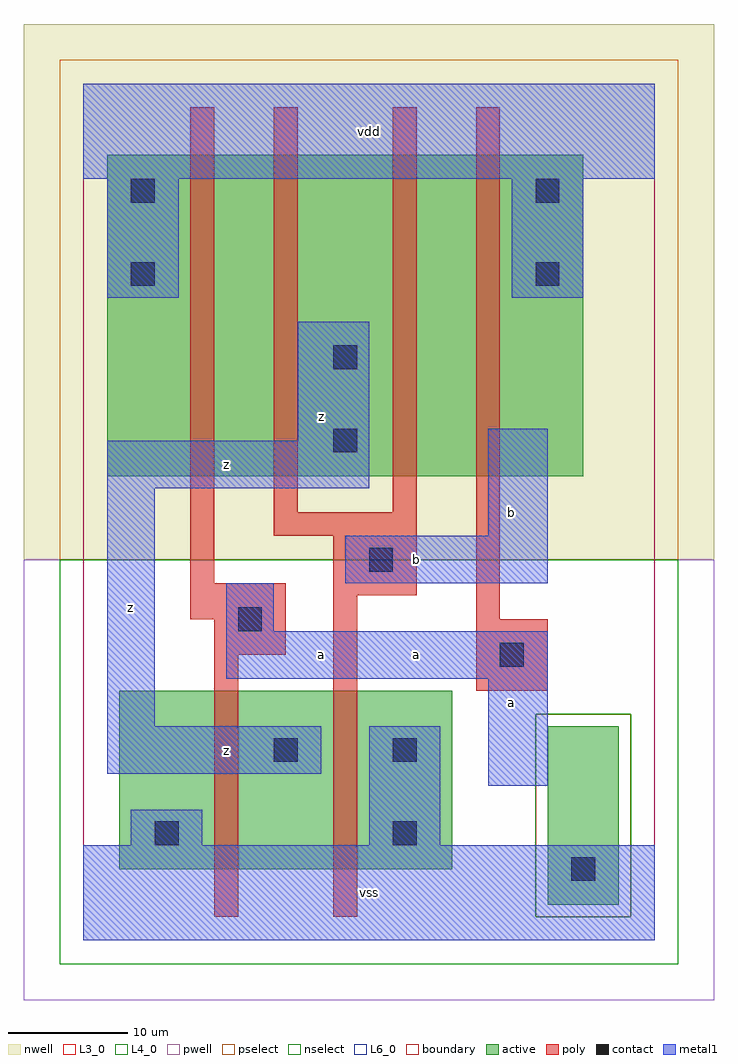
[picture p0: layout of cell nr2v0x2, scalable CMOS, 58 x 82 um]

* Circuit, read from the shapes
.subckt nr2v0x2 a b vdd vss z
M1 z a vss vss nfet w=15u l=2u
M2 vss b z vss nfet w=15u l=2u
M3 n1 a vdd n2 pfet w=27u l=2u
M4 z b n1 n2 pfet w=27u l=2u
M5 n3 b z n2 pfet w=27u l=2u
M6 vdd a n3 n2 pfet w=27u l=2u
.ends

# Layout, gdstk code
import gdstk
lib = gdstk.Library(unit=1e-6, precision=1e-09)
def R(c, l, rs):  # rectangles x0, y0, x1, y1
    for r in rs: c.add(gdstk.rectangle(r[:2], r[2:], *l))
L3_0 = (3, 0)
L4_0 = (4, 0)
L6_0 = (6, 0)
contact = (25, 0)
pwell = (41, 0)
nwell = (42, 0)
active = (43, 0)
pselect = (44, 0)
nselect = (45, 0)
poly = (46, 0)
metal1 = (49, 0)
boundary = (63, 0)

nr2v0x2 = lib.new_cell('nr2v0x2')
R(nr2v0x2, L3_0, [(3,6,31,21)])
R(nr2v0x2, L4_0, [(2,39,42,66)])
R(nr2v0x2, L6_0, [(39,3,45,18)])
R(nr2v0x2, contact, [(41,5,43,7), (6,8,8,10), (26,8,28,10), (16,15,18,17), (26,15,28,17), (35,23,37,25), (13,26,15,28), (24,31,26,33), (21,41,23,43), (21,48,23,50), (4,55,6,57), (38,55,40,57), (4,62,6,64), (38,62,40,64)])
R(nr2v0x2, pwell, [(-5,-5,53,32)])
R(nr2v0x2, nwell, [(-5,32,53,77)])
R(nr2v0x2, active, [(39,3,45,18), (3,6,31,21), (2,39,42,66)])
R(nr2v0x2, pselect, [(38,2,46,19), (-2,32,50,74)])
R(nr2v0x2, nselect, [(-2,-2,50,2), (-2,2,38,19), (46,2,50,19), (-2,19,50,32)])
R(nr2v0x2, poly, [(11,2,13,24), (21,2,23,29), (33,21,39,27), (11,24,17,27), (9,27,17,30), (33,27,35,70), (21,29,28,34), (9,30,11,70), (16,34,28,36), (16,36,18,70), (26,36,28,70)])
R(nr2v0x2, metal1, [(0,0,48,8), (4,8,10,11), (24,8,30,18), (34,13,39,22), (2,14,20,18), (2,18,6,38), (12,22,39,26), (12,26,16,30), (22,30,39,34), (34,34,39,43), (2,38,24,42), (18,42,24,52), (2,54,8,64), (36,54,42,64), (0,64,48,72)])
R(nr2v0x2, boundary, [(0,0,48,72)])
nr2v0x2.add(gdstk.Label('z', (4,28), layer=49, texttype=0))
nr2v0x2.add(gdstk.Label('z', (12,16), layer=49, texttype=0))
nr2v0x2.add(gdstk.Label('a', (20,24), layer=49, texttype=0))
nr2v0x2.add(gdstk.Label('z', (12,40), layer=49, texttype=0))
nr2v0x2.add(gdstk.Label('z', (20,44), layer=49, texttype=0))
nr2v0x2.add(gdstk.Label('vss', (24,4), layer=49, texttype=0))
nr2v0x2.add(gdstk.Label('a', (28,24), layer=49, texttype=0))
nr2v0x2.add(gdstk.Label('b', (28,32), layer=49, texttype=0))
nr2v0x2.add(gdstk.Label('vdd', (24,68), layer=49, texttype=0))
nr2v0x2.add(gdstk.Label('a', (36,20), layer=49, texttype=0))
nr2v0x2.add(gdstk.Label('b', (36,36), layer=49, texttype=0))

lib.write_gds('nr2v0x2.gds')
